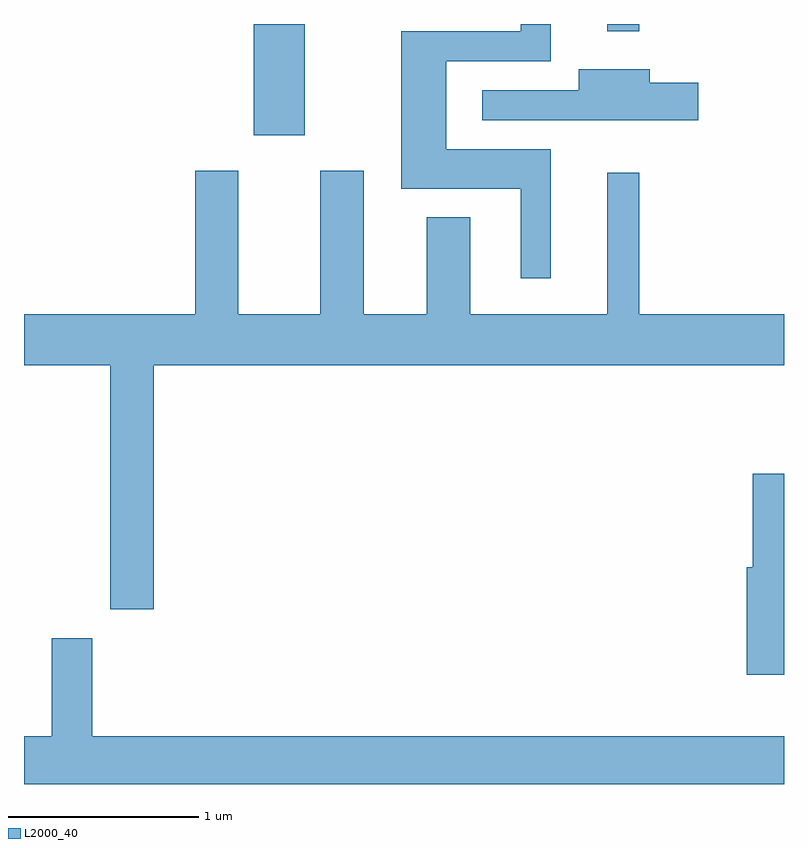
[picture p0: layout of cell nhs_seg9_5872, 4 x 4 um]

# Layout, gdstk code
import gdstk
lib = gdstk.Library(unit=1e-6, precision=1e-09)
def R(c, l, rs):  # rectangles x0, y0, x1, y1
    for r in rs: c.add(gdstk.rectangle(r[:2], r[2:], *l))
def P(c, l, *ps):  # polygons
    for p in ps: c.add(gdstk.Polygon(p, *l))
L2000_40 = (2000, 40)

nhs_seg9_5872 = lib.new_cell('nhs_seg9_5872')
R(nhs_seg9_5872, L2000_40, [(358.821,2061.846,359.089,2062.432), (360.681,2062.393,360.849,2062.432)])
P(nhs_seg9_5872, L2000_40, [(360.384,2061.774),(359.834,2061.774),(359.834,2062.236),(360.384,2062.236),(360.384,2062.432),(360.226,2062.432),(360.226,2062.394),(359.596,2062.394),(359.596,2061.566),(360.226,2061.566),(360.226,2061.093),(360.384,2061.093)],
  [(361.159,2062.124),(360.904,2062.124),(360.904,2062.194),(360.531,2062.194),(360.531,2062.084),(360.023,2062.084),(360.023,2061.926),(361.159,2061.926)],
  [(358.294,2060.636),(361.611,2060.636),(361.611,2060.904),(360.849,2060.904),(360.849,2061.648),(360.681,2061.648),(360.681,2060.904),(359.959,2060.904),(359.959,2061.414),(359.731,2061.414),(359.731,2060.904),(359.399,2060.904),(359.399,2061.659),(359.171,2061.659),(359.171,2060.904),(358.739,2060.904),(358.739,2061.659),(358.511,2061.659),(358.511,2060.904),(357.611,2060.904),(357.611,2060.636),(358.066,2060.636),(358.066,2059.351),(358.294,2059.351)],
  [(361.611,2060.064),(361.446,2060.064),(361.446,2059.574),(361.416,2059.574),(361.416,2059.006),(361.611,2059.006)],
  [(361.611,2058.684),(357.969,2058.684),(357.969,2059.199),(357.756,2059.199),(357.756,2058.684),(357.611,2058.684),(357.611,2058.432),(361.611,2058.432)])

lib.write_gds('nhs_seg9_5872.gds')
